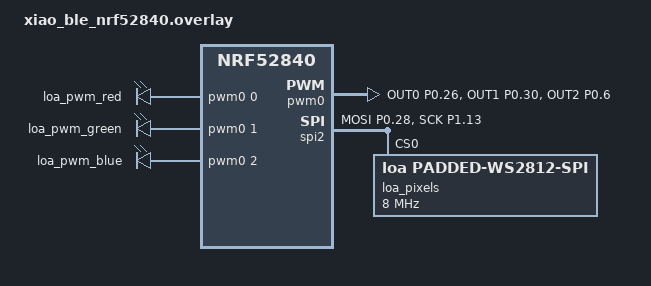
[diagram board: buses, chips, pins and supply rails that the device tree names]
/* SPDX-License-Identifier: MIT */
#include <zephyr/dt-bindings/pwm/pwm.h>

/ {
	chosen {
		zephyr,settings-partition = &storage_partition;
	};

	loa_pwm_leds: loa-pwm-leds {
		compatible = "pwm-leds";

		loa_pwm_red: red {
			pwms = <&pwm0 0 PWM_USEC(1000) PWM_POLARITY_INVERTED>;
		};

		loa_pwm_green: green {
			pwms = <&pwm0 1 PWM_USEC(1000) PWM_POLARITY_INVERTED>;
		};

		loa_pwm_blue: blue {
			pwms = <&pwm0 2 PWM_USEC(1000) PWM_POLARITY_INVERTED>;
		};
	};

	aliases {
		pwm-red = &loa_pwm_red;
		pwm-green = &loa_pwm_green;
		pwm-blue = &loa_pwm_blue;
	};
};
&pinctrl {
	loa_pwm_default: loa_pwm_default {
		group1 {
			psels = <NRF_PSEL(PWM_OUT0, 0, 26)>,
				<NRF_PSEL(PWM_OUT1, 0, 30)>,
				<NRF_PSEL(PWM_OUT2, 0, 6)>;
			nordic,invert;
		};
	};

	loa_pwm_sleep: loa_pwm_sleep {
		group1 {
			psels = <NRF_PSEL(PWM_OUT0, 0, 26)>,
				<NRF_PSEL(PWM_OUT1, 0, 30)>,
				<NRF_PSEL(PWM_OUT2, 0, 6)>;
			low-power-enable;
		};
	};
};

&pwm0 {
	status = "okay";
	pinctrl-0 = <&loa_pwm_default>;
	pinctrl-1 = <&loa_pwm_sleep>;
	pinctrl-names = "default", "sleep";
};

&uart0 {
	status = "disabled";
};

&i2c1 {
	status = "disabled";
};

&qspi {
	status = "disabled";
};

&ieee802154 {
	status = "disabled";
};

zephyr_udc0: &usbd {
	status = "disabled";
};

/* Four GRB pixels: D2/P0.28 MOSI, unconnected D8/P1.13 clock.
 * 8 MHz / ten-bit symbols: T0H 375 ns, T1H 750 ns, 1.25 us bit period.
 */
#include <zephyr/dt-bindings/led/led.h>

/ {
	aliases {
		loa-pixels = &loa_pixels;
	};
};

&pinctrl {
	loa_pixels_default: loa_pixels_default {
		group1 {
			psels = <NRF_PSEL(SPIM_MOSI, 0, 28)>, <NRF_PSEL(SPIM_SCK, 1, 13)>;
		};
	};
	loa_pixels_sleep: loa_pixels_sleep {
		group1 {
			psels = <NRF_PSEL(SPIM_MOSI, 0, 28)>, <NRF_PSEL(SPIM_SCK, 1, 13)>;
			low-power-enable;
		};
	};
};

&spi2 {
	compatible = "nordic,nrf-spim";
	status = "okay";
	pinctrl-0 = <&loa_pixels_default>;
	pinctrl-1 = <&loa_pixels_sleep>;
	pinctrl-names = "default", "sleep";
	loa_pixels: pixels@0 {
		compatible = "loa,padded-ws2812-spi";
		reg = <0>;
		spi-max-frequency = <8000000>;
		bits-per-symbol = <10>;
		spi-zero-frame = <0x380>;
		spi-one-frame = <0x3f0>;
		chain-length = <4>;
		color-mapping = <LED_COLOR_ID_GREEN LED_COLOR_ID_RED LED_COLOR_ID_BLUE>;
		reset-delay = <300>;
	};
};
